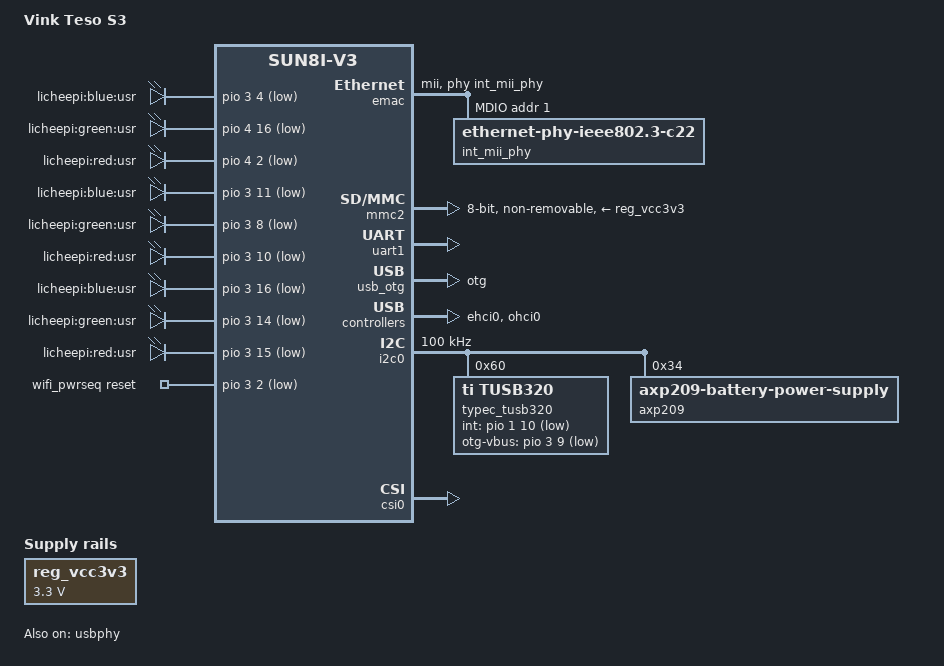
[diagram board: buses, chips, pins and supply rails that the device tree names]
// SPDX-License-Identifier: (GPL-2.0+ OR MIT)
/*
 * Copyright (C) 2019 Icenowy Zheng <icenowy@aosc.io>
 */

/dts-v1/;
#include "sun8i-v3.dtsi"

#include <dt-bindings/gpio/gpio.h>
#include <dt-bindings/input/input.h>

/ {
	model = "Vink Teso S3";
	compatible = "sipeed,lichee-zero-plus", "sochip,s3",
		     "allwinner,sun8i-v3";

	aliases {
		serial0 = &uart1;
		serial1 = &uart2;
	};

	chosen {
		stdout-path = "serial0:115200n8";
	};
	
    leds {
		compatible = "gpio-leds";
		
		blue1_led {
			label = "licheepi:blue:usr";
			gpios = <&pio 3 4 GPIO_ACTIVE_LOW>; /* PD4 */
		};

		green1_led {
			label = "licheepi:green:usr";
			gpios = <&pio 4 16 GPIO_ACTIVE_LOW>; /* PE16 */
			default-state = "on";
		};

		red1_led {
			label = "licheepi:red:usr";
			gpios = <&pio 4 2 GPIO_ACTIVE_LOW>; /* PE2 */
		};
		
        blue2_led {
			label = "licheepi:blue:usr";
			gpios = <&pio 3 11 GPIO_ACTIVE_LOW>; /* PD11 */
		};

		green2_led {
			label = "licheepi:green:usr";
			gpios = <&pio 3 8 GPIO_ACTIVE_LOW>; /* PD8 */
			default-state = "on";
		};

		red2_led {
			label = "licheepi:red:usr";
			gpios = <&pio 3 10 GPIO_ACTIVE_LOW>; /* PD10 */
		};
		
//        blue3_led {
//			label = "licheepi:blue:usr";
//			gpios = <&pio 1 10 GPIO_ACTIVE_LOW>; /* PB10 */
//		};
//
//		green3_led {
//			label = "licheepi:green:usr";
//			gpios = <&pio 1 6 GPIO_ACTIVE_LOW>; /* PB6 */
//			default-state = "on";
//		};
//
//		red3_led {
//			label = "licheepi:red:usr";
//			gpios = <&pio 1 7 GPIO_ACTIVE_LOW>; /* PB7 */
//		};
		
        blue4_led {
			label = "licheepi:blue:usr";
			gpios = <&pio 3 16 GPIO_ACTIVE_LOW>; /* PD16 */
		};

		green4_led {
			label = "licheepi:green:usr";
			gpios = <&pio 3 14 GPIO_ACTIVE_LOW>; /* PD14 */
			default-state = "on";
		};

		red4_led {
			label = "licheepi:red:usr";
			gpios = <&pio 3 15 GPIO_ACTIVE_LOW>; /* PD15 */
		};
	};

	reg_vcc3v3: vcc3v3 {
		compatible = "regulator-fixed";
		regulator-name = "vcc3v3";
		regulator-min-microvolt = <3300000>;
		regulator-max-microvolt = <3300000>;
	};
	wifi_pwrseq: wifi_pwrseq {
		compatible = "mmc-pwrseq-simple";
		reset-gpios = <&pio 3 2 GPIO_ACTIVE_LOW>; /* PD2 */
		clocks = <&rtc 1>;
		clock-names = "ext_clock";
	};
	
    syscon: syscon@1c00000 {
        compatible = "allwinner,sun8i-v3s-system-controller", "allwinner,sun8i-h3-system-control", "syscon";
        reg = <0x01c00000 0x1000>;
        #address-cells = <1>;
        #size-cells = <1>;
        ranges;

        sram_c: sram@1d00000 {
            compatible = "mmio-sram";
            reg = <0x01d00000 0x80000>;
            #address-cells = <1>;
            #size-cells = <1>;
            ranges = <0 0x01d00000 0x80000>;

            ve_sram: sram-section@0 {
                compatible = "allwinner,sun8i-v3s-sram-c", "allwinner,sun4i-a10-sram-c1";
                reg = <0x000000 0x80000>;
            };
        };
    };
	
	emac: ethernet@1c30000 {
            compatible = "allwinner,sun8i-h3-emac";
            syscon = <&syscon>;
            reg = <0x01c30000 0x10000>;
            interrupts = <GIC_SPI 82 IRQ_TYPE_LEVEL_HIGH>;
            interrupt-names = "macirq";
            resets = <&ccu RST_BUS_EMAC>;
            reset-names = "stmmaceth";
            clocks = <&ccu CLK_BUS_EMAC>;
            clock-names = "stmmaceth";
            status = "disabled";

            mdio: mdio {
                #address-cells = <1>;
                #size-cells = <0>;
                compatible = "snps,dwmac-mdio";
            };

            mdio-mux {
                compatible = "allwinner,sun8i-h3-mdio-mux";
                #address-cells = <1>;
                #size-cells = <0>;

                mdio-parent-bus = <&mdio>;
                /* Only one MDIO is usable at the time */
                internal_mdio: mdio@1 {
                    compatible = "allwinner,sun8i-h3-mdio-internal";
                    reg = <1>;
                    #address-cells = <1>;
                    #size-cells = <0>;

                    int_mii_phy: ethernet-phy@1 {
                        compatible = "ethernet-phy-ieee802.3-c22";
                        reg = <1>;
                        clocks = <&ccu CLK_BUS_EPHY>;
                        resets = <&ccu RST_BUS_EPHY>;
                    };
                };

                external_mdio: mdio@2 {
                    reg = <2>;
                    #address-cells = <1>;
                    #size-cells = <0>;
                };
            };
        };

};

&emac {
    phy-handle = <&int_mii_phy>;
    phy-mode = "mii";
    allwinner,use-internal-phy;
    status = "okay";
};

&mmc2 {
    non-removable;
    vmmc-supply = <&reg_vcc3v3>;
    bus-width = <8>;
    max-speed = <50000000>;
    mmc-ddr-3_3v;
    cap-mmc-hw-reset;
    status = "okay";
};

&uart1 {
	pinctrl-names = "default";
	status = "okay";
};

&pio {
    uart2_pins: uart2-pins {
		pins = "PB0", "PB1";
		function = "uart2";
	};
	
	uart2_rts_cts_pins: uart2-rts-cts-pins {
		pins = "PB2", "PB3";
		function = "uart2";
	};
};

&usb_otg {
	dr_mode = "otg";
	status = "okay";
};

&usbphy {
	status = "okay";
};

&ehci0 {
    status = "okay";
};

&ohci0 {
    status = "okay";
};

&i2c0 {
    clock-frequency = <100000>;
	pinctrl-names = "default";
	pinctrl-0 = <&i2c0_pins>;
	status = "okay";
	
    typec_tusb320:tusb320@60 {
        compatible = "ti,tusb320";
        reg = <0x60>;
        int-gpios = <&pio 1 10 GPIO_ACTIVE_LOW>; /* PB10 */
        otg-vbus-gpios = <&pio 3 9 GPIO_ACTIVE_LOW>; /* PD9 */
    };
    
    axp209: pmic@34 {
        compatible = "axp209-battery-power-supply";
		reg = <0x34>;
	};
};

&csi0 {
	status = "okay";
};
